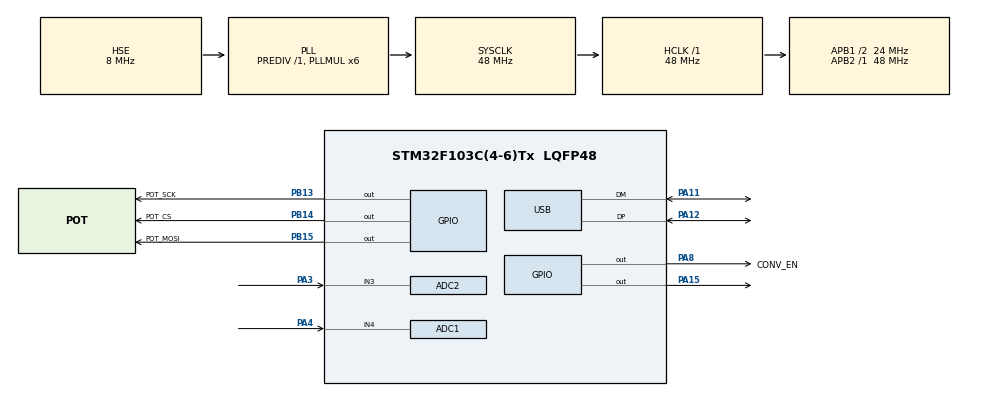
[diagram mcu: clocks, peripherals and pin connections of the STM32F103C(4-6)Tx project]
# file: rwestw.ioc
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ADC1.Channel-1\#ChannelRegularConversion=ADC_CHANNEL_4
ADC1.ContinuousConvMode=DISABLE
ADC1.NbrOfConversionFlag=1
ADC1.Rank-1\#ChannelRegularConversion=1
ADC1.SamplingTime-1\#ChannelRegularConversion=ADC_SAMPLETIME_239CYCLES_5
ADC1.master=1
ADC2.Channel-0\#ChannelRegularConversion=ADC_CHANNEL_3
ADC2.NbrOfConversionFlag=1
ADC2.Rank-0\#ChannelRegularConversion=1
ADC2.SamplingTime-0\#ChannelRegularConversion=ADC_SAMPLETIME_239CYCLES_5
Mcu.Family=STM32F1
Mcu.Name=STM32F103C(4-6)Tx
Mcu.Package=LQFP48
NVIC.PriorityGroup=NVIC_PRIORITYGROUP_4
NVIC.TIM3_IRQn=true\:0\:0\:false\:false\:true\:true\:true\:true
NVIC.USB_LP_CAN1_RX0_IRQn=true\:0\:0\:false\:false\:true\:false\:true\:true
PA11.Mode=Device
PA11.Signal=USB_DM
PA12.Mode=Device
PA12.Signal=USB_DP
PA13.Mode=Serial_Wire
PA13.Signal=SYS_JTMS-SWDIO
PA14.Mode=Serial_Wire
PA14.Signal=SYS_JTCK-SWCLK
PA15.PinState=GPIO_PIN_SET
PA15.Signal=GPIO_Output
PA3.Signal=ADCx_IN3
PA4.Signal=ADCx_IN4
PA8.GPIO_Label=CONV_EN
PA8.PinState=GPIO_PIN_SET
PA8.Signal=GPIO_Output
PB13.GPIO_Label=POT_SCK
PB13.Signal=GPIO_Output
PB14.GPIO_Label=POT_CS
PB14.PinState=GPIO_PIN_SET
PB14.Signal=GPIO_Output
PB15.GPIO_Label=POT_MOSI
PB15.Signal=GPIO_Output
PD0-OSC_IN.Mode=HSE-External-Oscillator
PD0-OSC_IN.Signal=RCC_OSC_IN
PD1-OSC_OUT.Mode=HSE-External-Oscillator
PD1-OSC_OUT.Signal=RCC_OSC_OUT
ProjectManager.HeapSize=0x200
ProjectManager.StackSize=0x400
ProjectManager.TargetToolchain=STM32CubeIDE
RCC.ADCPresc=RCC_ADCPCLK2_DIV4
RCC.AHBFreq_Value=48000000
RCC.APB1CLKDivider=RCC_HCLK_DIV2
RCC.APB1Freq_Value=24000000
RCC.APB1TimFreq_Value=48000000
RCC.APB2Freq_Value=48000000
RCC.APB2TimFreq_Value=48000000
RCC.HCLKFreq_Value=48000000
RCC.PLLMUL=RCC_PLL_MUL6
RCC.SYSCLKFreq_VALUE=48000000
RCC.SYSCLKSource=RCC_SYSCLKSOURCE_PLLCLK
RCC.USBFreq_Value=48000000
SH.ADCx_IN3.0=ADC2_IN3,IN3
SH.ADCx_IN4.0=ADC1_IN4,IN4
TIM3.Period=47999
USB_DEVICE.CLASS_NAME_FS=CDC
USB_DEVICE.VirtualMode=Cdc
USB_DEVICE.VirtualModeFS=Cdc_FS
VP_TIM3_VS_ClockSourceINT.Mode=Internal
VP_USB_DEVICE_VS_USB_DEVICE_CDC_FS.Mode=CDC_FS
board=custom

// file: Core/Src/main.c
/* USER CODE BEGIN Header */
/**
  ******************************************************************************
  * @file           : main.c
  * @brief          : Main program body
  ******************************************************************************
  * @attention
  *
  * Copyright (c) 2026 STMicroelectronics.
  * All rights reserved.
  *
  * This software is licensed under terms that can be found in the LICENSE file
  * in the root directory of this software component.
  * If no LICENSE file comes with this software, it is provided AS-IS.
  *
  ******************************************************************************
  */
/* USER CODE END Header */
#include "main.h"
#include "usb_device.h"

/* USER CODE BEGIN Includes */
//#include <stdio.h>
#include "cli.h"
#include "utils.h"
#include "mcp41010.h"
#include "usbd_cdc_if.h"
#include "ee.h"
/* USER CODE END Includes */

ADC_HandleTypeDef hadc1;
ADC_HandleTypeDef hadc2;

TIM_HandleTypeDef htim3;

void SystemClock_Config(void);
static void MX_GPIO_Init(void);
static void MX_ADC1_Init(void);
static void MX_ADC2_Init(void);
static void MX_TIM3_Init(void);
/* USER CODE BEGIN PFP */
void Read_ADC(
		Measurement_t *result,
		ADC_HandleTypeDef *hadc,
		uint8_t samples,
		float multiplier,
		float divider
		);

void status_print();
void voltage_regulation();
/* USER CODE END PFP */

/* USER CODE BEGIN 0 */

volatile uint8_t voltage_regulation_enabled = 0;
volatile uint8_t current_regulation_enabled = 0;
volatile uint8_t debug_enabled = 0;
volatile uint8_t status_output_enabled = 0;
volatile uint8_t get_status_enabled = 0;
volatile uint8_t measure_enabled = 0;

volatile float target_voltage = 12.5;
volatile float target_current = 1.0f;
static float integral_err_curr = 0.0f;
static float integral_err_vol= 0.0f;
static float base_pot_value = 128.0f;
static float base_voltage_feedforward = 0.0f;
void voltage_regulation_pi(int16_t p_feedforward, float t_target);
void current_regulation_pi(float v_feedforward, float t_target);
void current_regulation_formula(float t_target);

volatile uint16_t system_ms_ticks = 0;
volatile uint16_t debug_interval = 1000;

float k_voltage = 1;
float b_voltage = 0;

float k_current = 1;
float b_current = 0;

float v_Kp = 12.0f;
float v_Ki = 8.0f;
float v_Kd = 0.05f;

float c_Kp = 4.5f;
float c_Ki = 6.0f;
float c_Kd = 0.05f;

Measurement_t voltage = { .type = 0};
Measurement_t current = { .type = 1};
calibration_settings_t settings;
/* USER CODE END 0 */

int main(void)
{

  /* MCU Configuration--------------------------------------------------------*/

  /* Reset of all peripherals, Initializes the Flash interface and the Systick. */
  HAL_Init();

  /* Configure the system clock */
  SystemClock_Config();

  /* Initialize all configured peripherals */
  MX_GPIO_Init();
  MX_ADC1_Init();
  MX_USB_DEVICE_Init();
  MX_ADC2_Init();
  MX_TIM3_Init();
  /* USER CODE BEGIN 2 */
  HAL_ADCEx_Calibration_Start(&hadc1);
  HAL_ADCEx_Calibration_Start(&hadc2);
  HAL_TIM_Base_Start_IT(&htim3);
  HAL_GPIO_WritePin(CONV_EN_GPIO_Port, CONV_EN_Pin, GPIO_PIN_SET);
  MCP41010_SetValue(255);

  EE_Init(&settings, sizeof(calibration_settings_t));
  EE_Read();

  if (settings.magic_number != 0xCAFEBABE) {
      settings.k_volt = 1.0f;
      settings.b_volt = 0.0f;
      settings.k_curr = 1.0f;
      settings.b_curr = 0.0f;

      settings.volt_Kp = 12.0f;
      settings.volt_Ki = 5.0f;
      settings.volt_Kd = 0.05f;

      settings.curr_Kp = 4.5f;
      settings.curr_Ki = 6.0f;
      settings.curr_Kd = 0.05f;
      settings.magic_number = 0xCAFEBABE;
      EE_Write();
  }

  k_voltage = settings.k_volt;
  b_voltage = settings.b_volt;
  k_current = settings.k_curr;
  b_current = settings.b_curr;

  v_Kp = settings.volt_Kp;
  v_Ki = settings.volt_Ki;
  v_Kd = settings.volt_Kd;

  c_Kp = settings.curr_Kp;
  c_Ki = settings.curr_Ki;
  c_Kd = settings.curr_Kd;

  /* USER CODE END 2 */

  /* Infinite loop */
  /* USER CODE BEGIN WHILE */
  while (1)
  {
	  	if (measure_enabled)
	  	{
	  		measure_enabled = 0;
	  		Read_ADC(&voltage, &hadc1, 32, (180.0f + 15.0f), 15.0f);
	  		Read_ADC(&current, &hadc2, 32, 1.0f, 200.0f * 0.005f);
	  		if (voltage_regulation_enabled) {
	  			voltage_regulation_pi(-1, -1.0f);
			}
	  		else if (current_regulation_enabled) {
	  			current_regulation_pi(-1.0f, -1.0f);

//	  			current_regulation_formula(-1.0f);
	  		}
	  	}

		if (status_output_enabled && debug_enabled)
		{
			status_output_enabled = 0;
			status_print();
		}

		if (get_status_enabled)
		{
			get_status_enabled = 0;
			status_print();
		}

		if (cmd_ready) {
			cmd_ready = 0;
			process_command(cmd_buffer);
		}
    /* USER CODE END WHILE */

  }
}

void SystemClock_Config(void)
{
  RCC_OscInitTypeDef RCC_OscInitStruct = {0};
  RCC_ClkInitTypeDef RCC_ClkInitStruct = {0};
  RCC_PeriphCLKInitTypeDef PeriphClkInit = {0};

  /** Initializes the RCC Oscillators according to the specified parameters
  * in the RCC_OscInitTypeDef structure.
  */
  RCC_OscInitStruct.OscillatorType = RCC_OSCILLATORTYPE_HSE;
  RCC_OscInitStruct.HSEState = RCC_HSE_ON;
  RCC_OscInitStruct.HSEPredivValue = RCC_HSE_PREDIV_DIV1;
  RCC_OscInitStruct.HSIState = RCC_HSI_ON;
  RCC_OscInitStruct.PLL.PLLState = RCC_PLL_ON;
  RCC_OscInitStruct.PLL.PLLSource = RCC_PLLSOURCE_HSE;
  RCC_OscInitStruct.PLL.PLLMUL = RCC_PLL_MUL6;
  if (HAL_RCC_OscConfig(&RCC_OscInitStruct) != HAL_OK)
  {
    Error_Handler();
  }

  /** Initializes the CPU, AHB and APB buses clocks
  */
  RCC_ClkInitStruct.ClockType = RCC_CLOCKTYPE_HCLK|RCC_CLOCKTYPE_SYSCLK
                              |RCC_CLOCKTYPE_PCLK1|RCC_CLOCKTYPE_PCLK2;
  RCC_ClkInitStruct.SYSCLKSource = RCC_SYSCLKSOURCE_PLLCLK;
  RCC_ClkInitStruct.AHBCLKDivider = RCC_SYSCLK_DIV1;
  RCC_ClkInitStruct.APB1CLKDivider = RCC_HCLK_DIV2;
  RCC_ClkInitStruct.APB2CLKDivider = RCC_HCLK_DIV1;

  if (HAL_RCC_ClockConfig(&RCC_ClkInitStruct, FLASH_LATENCY_1) != HAL_OK)
  {
    Error_Handler();
  }
  PeriphClkInit.PeriphClockSelection = RCC_PERIPHCLK_ADC|RCC_PERIPHCLK_USB;
  PeriphClkInit.AdcClockSelection = RCC_ADCPCLK2_DIV4;
  PeriphClkInit.UsbClockSelection = RCC_USBCLKSOURCE_PLL;
  if (HAL_RCCEx_PeriphCLKConfig(&PeriphClkInit) != HAL_OK)
  {
    Error_Handler();
  }
}

static void MX_ADC1_Init(void)
{

  ADC_ChannelConfTypeDef sConfig = {0};

  /** Common config
  */
  hadc1.Instance = ADC1;
  hadc1.Init.ScanConvMode = ADC_SCAN_DISABLE;
  hadc1.Init.ContinuousConvMode = DISABLE;
  hadc1.Init.DiscontinuousConvMode = DISABLE;
  hadc1.Init.ExternalTrigConv = ADC_SOFTWARE_START;
  hadc1.Init.DataAlign = ADC_DATAALIGN_RIGHT;
  hadc1.Init.NbrOfConversion = 1;
  if (HAL_ADC_Init(&hadc1) != HAL_OK)
  {
    Error_Handler();
  }

  /** Configure Regular Channel
  */
  sConfig.Channel = ADC_CHANNEL_4;
  sConfig.Rank = ADC_REGULAR_RANK_1;
  sConfig.SamplingTime = ADC_SAMPLETIME_239CYCLES_5;
  if (HAL_ADC_ConfigChannel(&hadc1, &sConfig) != HAL_OK)
  {
    Error_Handler();
  }

}

static void MX_ADC2_Init(void)
{

  ADC_ChannelConfTypeDef sConfig = {0};

  /** Common config
  */
  hadc2.Instance = ADC2;
  hadc2.Init.ScanConvMode = ADC_SCAN_DISABLE;
  hadc2.Init.ContinuousConvMode = DISABLE;
  hadc2.Init.DiscontinuousConvMode = DISABLE;
  hadc2.Init.ExternalTrigConv = ADC_SOFTWARE_START;
  hadc2.Init.DataAlign = ADC_DATAALIGN_RIGHT;
  hadc2.Init.NbrOfConversion = 1;
  if (HAL_ADC_Init(&hadc2) != HAL_OK)
  {
    Error_Handler();
  }

  /** Configure Regular Channel
  */
  sConfig.Channel = ADC_CHANNEL_3;
  sConfig.Rank = ADC_REGULAR_RANK_1;
  sConfig.SamplingTime = ADC_SAMPLETIME_239CYCLES_5;
  if (HAL_ADC_ConfigChannel(&hadc2, &sConfig) != HAL_OK)
  {
    Error_Handler();
  }

}

static void MX_TIM3_Init(void)
{

  TIM_ClockConfigTypeDef sClockSourceConfig = {0};
  TIM_MasterConfigTypeDef sMasterConfig = {0};

  htim3.Instance = TIM3;
  htim3.Init.Prescaler = 0;
  htim3.Init.CounterMode = TIM_COUNTERMODE_UP;
  htim3.Init.Period = 47999;
  htim3.Init.ClockDivision = TIM_CLOCKDIVISION_DIV1;
  htim3.Init.AutoReloadPreload = TIM_AUTORELOAD_PRELOAD_DISABLE;
  if (HAL_TIM_Base_Init(&htim3) != HAL_OK)
  {
    Error_Handler();
  }
  sClockSourceConfig.ClockSource = TIM_CLOCKSOURCE_INTERNAL;
  if (HAL_TIM_ConfigClockSource(&htim3, &sClockSourceConfig) != HAL_OK)
  {
    Error_Handler();
  }
  sMasterConfig.MasterOutputTrigger = TIM_TRGO_RESET;
  sMasterConfig.MasterSlaveMode = TIM_MASTERSLAVEMODE_DISABLE;
  if (HAL_TIMEx_MasterConfigSynchronization(&htim3, &sMasterConfig) != HAL_OK)
  {
    Error_Handler();
  }

}

static void MX_GPIO_Init(void)
{
  GPIO_InitTypeDef GPIO_InitStruct = {0};

  /* GPIO Ports Clock Enable */
  __HAL_RCC_GPIOD_CLK_ENABLE();
  __HAL_RCC_GPIOA_CLK_ENABLE();
  __HAL_RCC_GPIOB_CLK_ENABLE();

  /*Configure GPIO pin Output Level */
  HAL_GPIO_WritePin(GPIOB, POT_SCK_Pin|POT_MOSI_Pin, GPIO_PIN_RESET);

  /*Configure GPIO pin Output Level */
  HAL_GPIO_WritePin(POT_CS_GPIO_Port, POT_CS_Pin, GPIO_PIN_SET);

  /*Configure GPIO pin Output Level */
  HAL_GPIO_WritePin(GPIOA, CONV_EN_Pin|GPIO_PIN_15, GPIO_PIN_SET);

  /*Configure GPIO pins : POT_SCK_Pin POT_CS_Pin POT_MOSI_Pin */
  GPIO_InitStruct.Pin = POT_SCK_Pin|POT_CS_Pin|POT_MOSI_Pin;
  GPIO_InitStruct.Mode = GPIO_MODE_OUTPUT_PP;
  GPIO_InitStruct.Pull = GPIO_NOPULL;
  GPIO_InitStruct.Speed = GPIO_SPEED_FREQ_LOW;
  HAL_GPIO_Init(GPIOB, &GPIO_InitStruct);

  /*Configure GPIO pins : CONV_EN_Pin PA15 */
  GPIO_InitStruct.Pin = CONV_EN_Pin|GPIO_PIN_15;
  GPIO_InitStruct.Mode = GPIO_MODE_OUTPUT_PP;
  GPIO_InitStruct.Pull = GPIO_NOPULL;
  GPIO_InitStruct.Speed = GPIO_SPEED_FREQ_LOW;
  HAL_GPIO_Init(GPIOA, &GPIO_InitStruct);

}

/* USER CODE BEGIN 4 */
/**
 * @brief  Обработчик прерывания по переполнению таймера TIM3.
 * @details Вызывается аппаратно с базовым интервалом в 1 мс.
 * @param[in] htim Указатель на базовую структуру таймера HAL.
 */
void HAL_TIM_PeriodElapsedCallback(TIM_HandleTypeDef *htim)
{
	if (htim->Instance == TIM3)
	{
		system_ms_ticks++;

		if ((system_ms_ticks % 50) == 0)
		{
			measure_enabled = 1;
		}

		if (system_ms_ticks >= debug_interval)
		{
			status_output_enabled = 1;

			system_ms_ticks = 0;
		}
	}
}

/**
 * @brief  Чтение, усреднение, и калибровка данных с АЦП.
 * @param[out] result     Указатель на структуру Measurement_t для записи отформатированного результата.
 * @param[in]  hadc       Указатель на дескриптор используемого АЦП HAL.
 * @param[in]  samples    Количество выборок для усреднения (размер окна оверсемплинга).
 * @param[in]  multiplier Множитель входного аппаратного делителя/усилителя.
 * @param[in]  divider    Делитель входного аппаратного делителя/усилителя.
 */
void Read_ADC(
		Measurement_t *result,
		ADC_HandleTypeDef *hadc,
		uint8_t samples,
		float multiplier,
		float divider
		)
{
    uint32_t sum = 0;
    for (uint8_t i = 0; i < samples; i++)
    {
        HAL_ADC_Start(hadc);
        HAL_ADC_PollForConversion(hadc, 10);
        sum += HAL_ADC_GetValue(hadc);
        HAL_ADC_Stop(hadc);
    }

    float raw_avg = (float)sum / samples;
    float v_adc = (raw_avg * 3.3f) / 4095.0f;
    float value = v_adc * multiplier / divider;

    if (result->type == 0) {
    	value = k_voltage * value + b_voltage;
    } else {
    	value = k_current * value + b_current;
    }
    result->whole_num = value;

    float value_abs = value;
    if (value < 0.0f) {
    	result->sign = 1;
    	value_abs = -value;
    } else {
    	result->sign = 0;
    }

    result->integer = (uint32_t)value_abs;
	result->decimal = (uint32_t)((value_abs - result->integer) * PRECISION);
}

/**
 * @brief  Форматирование и отправка текущего системного времени и параметров.
 * @param  None
 */
void status_print()
{
	uint32_t uptime_ms = HAL_GetTick();
	uint32_t minutes = (uptime_ms / 1000) / 60 % 60;
	uint32_t seconds = (uptime_ms / 1000) % 60;
	uint32_t ms = uptime_ms % 1000;

	char tx_buffer[64];
	int p = 0;

	tx_buffer[p++] = '[';
	p += custom_utoa(minutes, &tx_buffer[p], 2, '0');
	tx_buffer[p++] = ':';
	p += custom_utoa(seconds, &tx_buffer[p], 2, '0');
	tx_buffer[p++] = '.';
	p += custom_utoa(ms,      &tx_buffer[p], 3, '0');
	tx_buffer[p++] = ']';
	tx_buffer[p++] = '\n';
	tx_buffer[p++] = '\r';

	p = append_sensor_data(tx_buffer, p, "Voltage", voltage.sign, voltage.integer, voltage.decimal, 'V');

	p = append_sensor_data(tx_buffer, p, "Current", current.sign, current.integer, current.decimal, 'A');

	CDC_Transmit_FS((uint8_t*)tx_buffer, p);
}

/**
 * @brief  Выполнение одного шага PI-регулирования напряжения.
 * @details Функция опрашивается в главном цикле по флагу готовности измерений (каждые 50 мс).
 * Реализует формулу Feedforward + PI с защитой интегратора от насыщения (Anti-windup clamping).
 * * @param[in] p_feedforward Расчетное стартовое положение потенциометра (feedforward от модели).
 * Если передано < 0, используется текущее базовое значение.
 * @param[in] t_target      Целевое напряжение. Если < 0, используется текущее целевое.
 */
void voltage_regulation_pi(int16_t p_feedforward, float t_target) {
    if (p_feedforward >= 0) {
        base_pot_value = (float)p_feedforward;
    }
    if (t_target >= 0.0f) {
    	float diff = t_target - target_voltage;
    	if (diff < 0.0f) diff = -diff;
        if (diff > 0.5f) integral_err_vol= 0.0f;
        target_voltage = t_target;
    }

    float error = target_voltage - voltage.whole_num;

    float p_term = v_Kp * error;

    float next_integral = integral_err_vol+ error * v_Kd;

    float i_term = v_Ki * next_integral;
    float control_action = p_term + i_term;

    // Результирующее значение потенциометра (обратная зависимость: меньше код -> больше вольт)
    float raw_pot = base_pot_value - control_action;

    if (raw_pot >= 0.0f && raw_pot <= 255.0f) {
        integral_err_vol= next_integral;
    } else {
        if (raw_pot < 0.0f) raw_pot = 0.0f;
        if (raw_pot > 255.0f) raw_pot = 255.0f;
    }

    uint8_t final_pot = (uint8_t)raw_pot;
    MCP41010_SetValue(final_pot);
}
/**
 * @brief  Установка целевого напряжения.
 * @param[in] target_voltage Желаемое выходное напряжение в Вольтах.
 * @retval 1 Целевое напряжение валидно и установлено.
 * @retval 0 Заданное значение выходит за аппаратные границы схемы регулирования.
 */
uint8_t Set_Target_Voltage(float trg_voltage) {
	float load = 1.25f * 180000.0f / (trg_voltage-1.25f) - 10000.0f;

	if (load < 0.0f) {
		return 0;
	} else if (load > 10000.0f) {
		return 0;
	} else {
		int16_t pot = (int16_t)((load) * 256.0f / 10000.0f);
		pot = pot - 2;
		if (pot < 0) pot = 0;
		if (pot > 255) pot = 255;

		voltage_regulation_pi(pot, trg_voltage);
		voltage_regulation_enabled = 1;
		current_regulation_enabled = 0;
		return 1;
	}
}

/**
 * @brief  Выполнение одного шага PI-регулирования тока.
 * @details Рассчитывает необходимую коррекцию напряжения на основе ошибки по току,
 * объединяет её с расчетным напряжением модели (Feedforward) и устанавливает
 * новое целевое напряжение для аппаратного регулятора.
 * * @param[in] v_feedforward Расчетное напряжение модели (V_out2). Если < 0, берется старое значение.
 * @param[in] t_target      Целевой ток (А). Если < 0, используется текущий целевой ток.
 */
void current_regulation_pi(float v_feedforward, float t_target) {
    if (v_feedforward >= 0.0f) {
        base_voltage_feedforward = v_feedforward;
    }

    if (t_target >= 0.0f) {
        float diff = t_target - target_current;
        if (diff < 0.0f) diff = -diff;
        if (diff > 0.05f) integral_err_curr = 0.0f;

        target_current = t_target;
    }
    if (current.whole_num < 0.002f) {
    	integral_err_curr = 0.0f;
    	return;
    }

    float error = target_current - current.whole_num;

    float p_term = c_Kp * error;

    float next_integral = integral_err_curr + error * c_Kd;
    float i_term = c_Ki * next_integral;

    float voltage_correction = p_term + i_term;

    float v_result = base_voltage_feedforward + voltage_correction;

    if (v_result >= 12.25f && v_result <= 24.0f) {
        integral_err_curr = next_integral;
    } else {
        if (v_result < 12.25f) v_result = 12.25f;
        if (v_result > 24.0f) v_result = 24.0f;
    }

    float load = 1.25f * 180000.0f / (v_result - 1.25f) - 10000.0f;
	int16_t pot;
	if (load < 0.0f) {
		pot = 0;
	} else if (load > 10000.0f) {
		pot = 255;
	} else {
		pot = (int16_t)((load) * 256.0f / 10000.0f) - 2;
		if (pot < 0) pot = 0;
		if (pot > 255) pot = 255;
	}

	MCP41010_SetValue((uint8_t)pot);
}

void current_regulation_formula(float t_target) {
	if (t_target >= 0.0f) {
		target_current = t_target;
	}

	float I_out1 = current.whole_num;
	float V_out1 = voltage.whole_num;

	if (I_out1 <= 0.001f) {
		return;
	}

	float R_load = V_out1 / I_out1;
	float V_out2 = target_current * R_load;

    float load = 1.25f * 180000.0f / (V_out2 - 1.25f) - 10000.0f;
    int16_t pot = 255;
    if (load < 0.0f) {
		pot = 0;
	} else if (load > 10000.0f) {
		pot = 255;
	} else {
		pot = (int16_t)((load) * 256.0f / 10000.0f);
		pot = pot - 2;
		if (pot < 0) pot = 0;
		if (pot > 255) pot = 255;
	}
	MCP41010_SetValue((uint8_t)pot);
}

/**
 * @brief  Установка целевого значения тока.
 * @param[in] target_current Желаемый выходной ток в Амперах.
 * @retval 1 Расчет успешен.
 * @retval 0 Ошибка расчета.
 */
uint8_t Set_Target_Current(float trg_current) {
	float I_out1 = current.whole_num;
	float V_out1 = voltage.whole_num;

	if (I_out1 <= 0.001f) {
		return 0;
	}

	float R_load = V_out1 / I_out1;
	float V_out2 = trg_current * R_load;

    float load = 1.25f * 180000.0f / (V_out2 - 1.25f) - 10000.0f;
	if (load < 0.0f) return 0;
	else if (load > 10000.0f) return 0;

	current_regulation_pi(V_out2, trg_current);
	voltage_regulation_enabled = 0;
	current_regulation_enabled = 1;
	return 1;
}

/* USER CODE END 4 */

void Error_Handler(void)
{
  __disable_irq();
  while (1)
  {
  }
}
